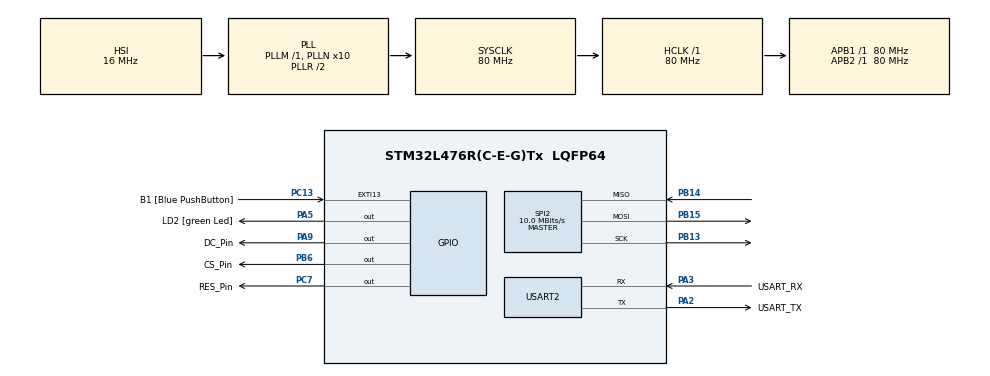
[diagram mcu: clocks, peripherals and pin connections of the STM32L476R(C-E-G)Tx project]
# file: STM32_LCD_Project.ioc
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Mcu.Family=STM32L4
Mcu.Name=STM32L476R(C-E-G)Tx
Mcu.Package=LQFP64
NVIC.PriorityGroup=NVIC_PRIORITYGROUP_4
PA13\ (JTMS-SWDIO).GPIO_Label=TMS
PA13\ (JTMS-SWDIO).Mode=Serial_Wire
PA13\ (JTMS-SWDIO).Signal=SYS_JTMS-SWDIO
PA14\ (JTCK-SWCLK).GPIO_Label=TCK
PA14\ (JTCK-SWCLK).Mode=Serial_Wire
PA14\ (JTCK-SWCLK).Signal=SYS_JTCK-SWCLK
PA2.GPIO_Label=USART_TX
PA2.GPIO_Mode=GPIO_MODE_AF_PP
PA2.GPIO_PuPd=GPIO_NOPULL
PA2.GPIO_Speed=GPIO_SPEED_FREQ_VERY_HIGH
PA2.Mode=Asynchronous
PA2.Signal=USART2_TX
PA3.GPIO_Label=USART_RX
PA3.GPIO_Mode=GPIO_MODE_AF_PP
PA3.GPIO_PuPd=GPIO_NOPULL
PA3.GPIO_Speed=GPIO_SPEED_FREQ_VERY_HIGH
PA3.Mode=Asynchronous
PA3.Signal=USART2_RX
PA5.GPIO_Label=LD2 [green Led]
PA5.GPIO_ModeDefaultOutputPP=GPIO_MODE_OUTPUT_PP
PA5.GPIO_PuPd=GPIO_NOPULL
PA5.GPIO_Speed=GPIO_SPEED_FREQ_LOW
PA5.Signal=GPIO_Output
PA9.GPIO_Label=DC_Pin
PA9.Signal=GPIO_Output
PB13.Mode=Full_Duplex_Master
PB13.Signal=SPI2_SCK
PB14.Mode=Full_Duplex_Master
PB14.Signal=SPI2_MISO
PB15.Mode=Full_Duplex_Master
PB15.Signal=SPI2_MOSI
PB3\ (JTDO-TRACESWO).GPIO_Label=SWO
PB3\ (JTDO-TRACESWO).Signal=SYS_JTDO-SWO
PB6.GPIO_Label=CS_Pin
PB6.Signal=GPIO_Output
PC13.GPIO_Label=B1 [Blue PushButton]
PC13.GPIO_ModeDefaultEXTI=GPIO_MODE_IT_FALLING
PC13.GPIO_PuPd=GPIO_NOPULL
PC13.Signal=GPXTI13
PC14-OSC32_IN\ (PC14).Mode=LSE-External-Oscillator
PC14-OSC32_IN\ (PC14).Signal=RCC_OSC32_IN
PC15-OSC32_OUT\ (PC15).Mode=LSE-External-Oscillator
PC15-OSC32_OUT\ (PC15).Signal=RCC_OSC32_OUT
PC7.GPIO_Label=RES_Pin
PC7.Signal=GPIO_Output
PH0-OSC_IN\ (PH0).Signal=RCC_OSC_IN
PH1-OSC_OUT\ (PH1).Signal=RCC_OSC_OUT
ProjectManager.HeapSize=0x200
ProjectManager.StackSize=0x400
ProjectManager.TargetToolchain=STM32CubeIDE
RCC.ADCFreq_Value=64000000
RCC.AHBFreq_Value=80000000
RCC.APB1Freq_Value=80000000
RCC.APB1TimFreq_Value=80000000
RCC.APB2Freq_Value=80000000
RCC.APB2TimFreq_Value=80000000
RCC.CortexFreq_Value=80000000
RCC.HCLKFreq_Value=80000000
RCC.HSE_VALUE=8000000
RCC.HSI_VALUE=16000000
RCC.MSI_VALUE=4000000
RCC.PLLN=10
RCC.PLLSourceVirtual=RCC_PLLSOURCE_HSI
RCC.PREFETCH_ENABLE=1
RCC.SYSCLKFreq_VALUE=80000000
RCC.SYSCLKSource=RCC_SYSCLKSOURCE_PLLCLK
RCC.USBFreq_Value=64000000
RCC.VCOOutputFreq_Value=160000000
SPI2.BaudRatePrescaler=SPI_BAUDRATEPRESCALER_8
SPI2.CalculateBaudRate=10.0 MBits/s
SPI2.DataSize=SPI_DATASIZE_8BIT
SPI2.Direction=SPI_DIRECTION_2LINES
SPI2.Mode=SPI_MODE_MASTER
SPI2.VirtualType=VM_MASTER
USART2.VirtualMode-Asynchronous=VM_ASYNC
board=NUCLEO-L476RG

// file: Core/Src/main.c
/* USER CODE BEGIN Header */
/**
  ******************************************************************************
  * @file           : main.c
  * @brief          : Main program body
  ******************************************************************************
  * @attention
  *
  * Copyright (c) 2024 STMicroelectronics.
  * All rights reserved.
  *
  * This software is licensed under terms that can be found in the LICENSE file
  * in the root directory of this software component.
  * If no LICENSE file comes with this software, it is provided AS-IS.
  *
  ******************************************************************************
  */
/* USER CODE END Header */
#include "main.h"

/* USER CODE BEGIN Includes */
#include "stm32l4xx_hal.h"
#include <string.h>
#include <stdarg.h>
#include "../Lib/ssd1351/ssd1351.h"
#include "../Lib/ssd1351/fonts.h"
#include "../Lib/ssd1351/testimg.h"

/* USER CODE END Includes */

SPI_HandleTypeDef hspi2;

UART_HandleTypeDef huart2;

void SystemClock_Config(void);
static void MX_GPIO_Init(void);
static void MX_USART2_UART_Init(void);
static void MX_SPI2_Init(void);
/* USER CODE BEGIN PFP */

/* Private function prototypes -----------------------------------------------*/
void SystemClock_Config(void);
static void MX_GPIO_Init(void);
static void MX_SPI1_Init(void);
static void MX_USART2_UART_Init(void);

void UART_Printf(const char* fmt, ...) {
    char buff[256];
    va_list args;
    va_start(args, fmt);
    vsnprintf(buff, sizeof(buff), fmt, args);
    HAL_UART_Transmit(&huart2, (uint8_t*)buff, strlen(buff),
                      HAL_MAX_DELAY);
    va_end(args);
}

void init() {
    SSD1351_Unselect();
    SSD1351_Init();
    UART_Printf("Init done!\r\n");
}

void loop() {
    // Check border
    SSD1351_FillScreen(SSD1351_BLACK);

    for(int x = 0; x < SSD1351_WIDTH; x++) {
        SSD1351_DrawPixel(x, 0, SSD1351_RED);
        SSD1351_DrawPixel(x, SSD1351_HEIGHT-1, SSD1351_RED);
    }

    for(int y = 0; y < SSD1351_HEIGHT; y++) {
        SSD1351_DrawPixel(0, y, SSD1351_RED);
        SSD1351_DrawPixel(SSD1351_WIDTH-1, y, SSD1351_RED);
    }

    HAL_Delay(3000);

    // Check fonts
    SSD1351_FillScreen(SSD1351_BLACK);
    SSD1351_WriteString(0, 0, "Font_7x10, red on black, lorem ipsum dolor sit amet", Font_7x10, SSD1351_RED, SSD1351_BLACK);
    SSD1351_WriteString(0, 3*10, "Font_11x18, green, lorem ipsum", Font_11x18, SSD1351_GREEN, SSD1351_BLACK);
    SSD1351_WriteString(0, 3*10+3*18, "Font_16x26, blue, lorem ipsum dolor sit amet", Font_16x26, SSD1351_BLUE, SSD1351_BLACK);

    HAL_Delay(1000);
    SSD1351_InvertColors(true);
    HAL_Delay(1000);
    SSD1351_InvertColors(false);

    HAL_Delay(5000);

    // Check colors
    SSD1351_FillScreen(SSD1351_WHITE);
    SSD1351_WriteString(0, 0, "WHITE", Font_11x18, SSD1351_BLACK, SSD1351_WHITE);
    HAL_Delay(500);

    SSD1351_FillScreen(SSD1351_BLUE);
    SSD1351_WriteString(0, 0, "BLUE", Font_11x18, SSD1351_BLACK, SSD1351_BLUE);
    HAL_Delay(500);

    SSD1351_FillScreen(SSD1351_RED);
    SSD1351_WriteString(0, 0, "RED", Font_11x18, SSD1351_BLACK, SSD1351_RED);
    HAL_Delay(500);

    SSD1351_FillScreen(SSD1351_GREEN);
    SSD1351_WriteString(0, 0, "GREEN", Font_11x18, SSD1351_BLACK, SSD1351_GREEN);
    HAL_Delay(500);

    SSD1351_FillScreen(SSD1351_CYAN);
    SSD1351_WriteString(0, 0, "CYAN", Font_11x18, SSD1351_BLACK, SSD1351_CYAN);
    HAL_Delay(500);

    SSD1351_FillScreen(SSD1351_MAGENTA);
    SSD1351_WriteString(0, 0, "MAGENTA", Font_11x18, SSD1351_BLACK, SSD1351_MAGENTA);
    HAL_Delay(500);

    SSD1351_FillScreen(SSD1351_YELLOW);
    SSD1351_WriteString(0, 0, "YELLOW", Font_11x18, SSD1351_BLACK, SSD1351_YELLOW);
    HAL_Delay(500);

    SSD1351_FillScreen(SSD1351_BLACK);
    SSD1351_WriteString(0, 0, "BLACK", Font_11x18, SSD1351_WHITE, SSD1351_BLACK);
    HAL_Delay(500);

    SSD1351_DrawImage(0, 0, 128, 128, (const uint16_t*)test_img_128x128);

    HAL_Delay(10000);
}

/* USER CODE END PFP */

int main(void)
{

  /* MCU Configuration--------------------------------------------------------*/

  /* Reset of all peripherals, Initializes the Flash interface and the Systick. */
  HAL_Init();

  /* Configure the system clock */
  SystemClock_Config();

  /* Initialize all configured peripherals */
  MX_GPIO_Init();
  MX_USART2_UART_Init();
  MX_SPI2_Init();

  /* USER CODE BEGIN 2 */
  init();
  /* USER CODE END 2 */

  /* Infinite loop */
  /* USER CODE BEGIN WHILE */
  while (1)
  {
	loop();
    /* USER CODE END WHILE */

  }
}

void SystemClock_Config(void)
{
  RCC_OscInitTypeDef RCC_OscInitStruct = {0};
  RCC_ClkInitTypeDef RCC_ClkInitStruct = {0};

  /** Configure the main internal regulator output voltage
  */
  if (HAL_PWREx_ControlVoltageScaling(PWR_REGULATOR_VOLTAGE_SCALE1) != HAL_OK)
  {
    Error_Handler();
  }

  /** Initializes the RCC Oscillators according to the specified parameters
  * in the RCC_OscInitTypeDef structure.
  */
  RCC_OscInitStruct.OscillatorType = RCC_OSCILLATORTYPE_HSI;
  RCC_OscInitStruct.HSIState = RCC_HSI_ON;
  RCC_OscInitStruct.HSICalibrationValue = RCC_HSICALIBRATION_DEFAULT;
  RCC_OscInitStruct.PLL.PLLState = RCC_PLL_ON;
  RCC_OscInitStruct.PLL.PLLSource = RCC_PLLSOURCE_HSI;
  RCC_OscInitStruct.PLL.PLLM = 1;
  RCC_OscInitStruct.PLL.PLLN = 10;
  RCC_OscInitStruct.PLL.PLLP = RCC_PLLP_DIV7;
  RCC_OscInitStruct.PLL.PLLQ = RCC_PLLQ_DIV2;
  RCC_OscInitStruct.PLL.PLLR = RCC_PLLR_DIV2;
  if (HAL_RCC_OscConfig(&RCC_OscInitStruct) != HAL_OK)
  {
    Error_Handler();
  }

  /** Initializes the CPU, AHB and APB buses clocks
  */
  RCC_ClkInitStruct.ClockType = RCC_CLOCKTYPE_HCLK|RCC_CLOCKTYPE_SYSCLK
                              |RCC_CLOCKTYPE_PCLK1|RCC_CLOCKTYPE_PCLK2;
  RCC_ClkInitStruct.SYSCLKSource = RCC_SYSCLKSOURCE_PLLCLK;
  RCC_ClkInitStruct.AHBCLKDivider = RCC_SYSCLK_DIV1;
  RCC_ClkInitStruct.APB1CLKDivider = RCC_HCLK_DIV1;
  RCC_ClkInitStruct.APB2CLKDivider = RCC_HCLK_DIV1;

  if (HAL_RCC_ClockConfig(&RCC_ClkInitStruct, FLASH_LATENCY_4) != HAL_OK)
  {
    Error_Handler();
  }
}

static void MX_SPI2_Init(void)
{

  /* SPI2 parameter configuration*/
  hspi2.Instance = SPI2;
  hspi2.Init.Mode = SPI_MODE_MASTER;
  hspi2.Init.Direction = SPI_DIRECTION_2LINES;
  hspi2.Init.DataSize = SPI_DATASIZE_8BIT;
  hspi2.Init.CLKPolarity = SPI_POLARITY_LOW;
  hspi2.Init.CLKPhase = SPI_PHASE_1EDGE;
  hspi2.Init.NSS = SPI_NSS_SOFT;
  hspi2.Init.BaudRatePrescaler = SPI_BAUDRATEPRESCALER_8;
  hspi2.Init.FirstBit = SPI_FIRSTBIT_MSB;
  hspi2.Init.TIMode = SPI_TIMODE_DISABLE;
  hspi2.Init.CRCCalculation = SPI_CRCCALCULATION_DISABLE;
  hspi2.Init.CRCPolynomial = 7;
  hspi2.Init.CRCLength = SPI_CRC_LENGTH_DATASIZE;
  hspi2.Init.NSSPMode = SPI_NSS_PULSE_ENABLE;
  if (HAL_SPI_Init(&hspi2) != HAL_OK)
  {
    Error_Handler();
  }

}

static void MX_USART2_UART_Init(void)
{

  huart2.Instance = USART2;
  huart2.Init.BaudRate = 115200;
  huart2.Init.WordLength = UART_WORDLENGTH_8B;
  huart2.Init.StopBits = UART_STOPBITS_1;
  huart2.Init.Parity = UART_PARITY_NONE;
  huart2.Init.Mode = UART_MODE_TX_RX;
  huart2.Init.HwFlowCtl = UART_HWCONTROL_NONE;
  huart2.Init.OverSampling = UART_OVERSAMPLING_16;
  huart2.Init.OneBitSampling = UART_ONE_BIT_SAMPLE_DISABLE;
  huart2.AdvancedInit.AdvFeatureInit = UART_ADVFEATURE_NO_INIT;
  if (HAL_UART_Init(&huart2) != HAL_OK)
  {
    Error_Handler();
  }

}

static void MX_GPIO_Init(void)
{
  GPIO_InitTypeDef GPIO_InitStruct = {0};

  /* GPIO Ports Clock Enable */
  __HAL_RCC_GPIOC_CLK_ENABLE();
  __HAL_RCC_GPIOH_CLK_ENABLE();
  __HAL_RCC_GPIOA_CLK_ENABLE();
  __HAL_RCC_GPIOB_CLK_ENABLE();

  /*Configure GPIO pin Output Level */
  HAL_GPIO_WritePin(GPIOA, LD2_Pin|DC_Pin_Pin, GPIO_PIN_RESET);

  /*Configure GPIO pin Output Level */
  HAL_GPIO_WritePin(RES_Pin_GPIO_Port, RES_Pin_Pin, GPIO_PIN_RESET);

  /*Configure GPIO pin Output Level */
  HAL_GPIO_WritePin(CS_Pin_GPIO_Port, CS_Pin_Pin, GPIO_PIN_RESET);

  /*Configure GPIO pin : B1_Pin */
  GPIO_InitStruct.Pin = B1_Pin;
  GPIO_InitStruct.Mode = GPIO_MODE_IT_FALLING;
  GPIO_InitStruct.Pull = GPIO_NOPULL;
  HAL_GPIO_Init(B1_GPIO_Port, &GPIO_InitStruct);

  /*Configure GPIO pins : LD2_Pin DC_Pin_Pin */
  GPIO_InitStruct.Pin = LD2_Pin|DC_Pin_Pin;
  GPIO_InitStruct.Mode = GPIO_MODE_OUTPUT_PP;
  GPIO_InitStruct.Pull = GPIO_NOPULL;
  GPIO_InitStruct.Speed = GPIO_SPEED_FREQ_LOW;
  HAL_GPIO_Init(GPIOA, &GPIO_InitStruct);

  /*Configure GPIO pin : RES_Pin_Pin */
  GPIO_InitStruct.Pin = RES_Pin_Pin;
  GPIO_InitStruct.Mode = GPIO_MODE_OUTPUT_PP;
  GPIO_InitStruct.Pull = GPIO_NOPULL;
  GPIO_InitStruct.Speed = GPIO_SPEED_FREQ_LOW;
  HAL_GPIO_Init(RES_Pin_GPIO_Port, &GPIO_InitStruct);

  /*Configure GPIO pin : CS_Pin_Pin */
  GPIO_InitStruct.Pin = CS_Pin_Pin;
  GPIO_InitStruct.Mode = GPIO_MODE_OUTPUT_PP;
  GPIO_InitStruct.Pull = GPIO_NOPULL;
  GPIO_InitStruct.Speed = GPIO_SPEED_FREQ_LOW;
  HAL_GPIO_Init(CS_Pin_GPIO_Port, &GPIO_InitStruct);

}

void Error_Handler(void)
{
  __disable_irq();
  while (1)
  {
  }
}
